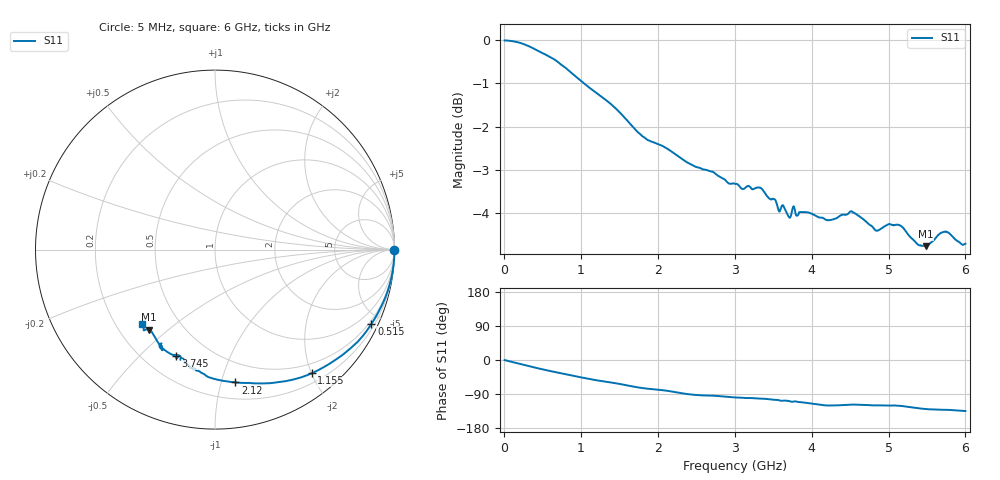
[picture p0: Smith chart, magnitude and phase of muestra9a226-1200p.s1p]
# Hz S RI R 50.000000
! Metas.Vna.Tools, 3.0.9519.15400
! Metas.Vna.Data, 3.0.9519.15360
! Created: UTC 2026.10.24 15:25:27
! FREQ  re:S1,1  im:S1,1
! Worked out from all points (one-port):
!   1200 points, 5 MHz to 6 GHz, reference 50 ohm
!   lowest |S11| = -4.8 dB at 5.485 GHz (marker M1), VSWR 3.73, Z = 16.2 - j21.6 ohm
!   |S11| at or under -10 dB: nowhere
!   S11 on the Smith chart (normalised r, x): 5 MHz: open; 515 MHz: 0.36, -4.40; 1.155 GHz: 0.34, -2.01; 2.12 GHz: 0.33, -1.11; 3.745 GHz: 0.33, -0.65; 6 GHz: 0.31, -0.38
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5000000  1 -0.00437
2.4e8  0.9691 -0.2084
5.15e8  0.8715 -0.4145
7.55e8  0.759 -0.5465
9.75e8  0.6392 -0.6354
1.155e9  0.5394 -0.6886
1.505e9  0.3706 -0.7366
1.78e9  0.2199 -0.7449
2.12e9  0.1136 -0.7401
2.255e9  0.0538 -0.7325
2.47e9  -0.0232 -0.7142
2.755e9  -0.0562 -0.6971
3.005e9  -0.1069 -0.6728
3.335e9  -0.1371 -0.6599
3.61e9  -0.1936 -0.6122
3.68e9  -0.1896 -0.6001
3.745e9  -0.219 -0.5949
3.755e9  -0.2192 -0.6008
3.805e9  -0.2134 -0.5882
4.175e9  -0.3074 -0.5383
4.29e9  -0.3085 -0.5378
4.505e9  -0.2956 -0.5597
4.835e9  -0.2984 -0.5222
5.12e9  -0.3094 -0.5269
5.255e9  -0.3298 -0.4952
5.485e9  -0.366 -0.4458
5.76e9  -0.3971 -0.4488
6e9  -0.4076 -0.4135
